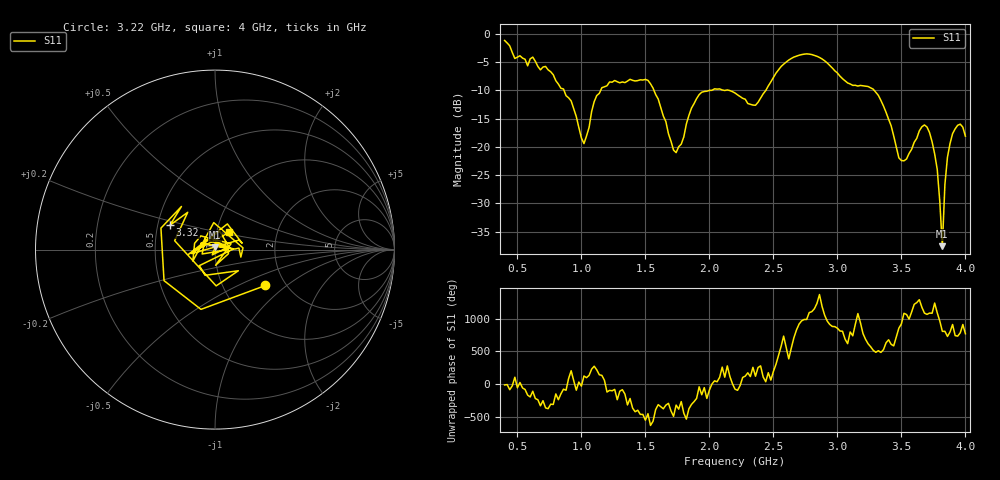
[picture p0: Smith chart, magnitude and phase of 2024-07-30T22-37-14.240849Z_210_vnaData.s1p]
!Created with skrf (http://scikit-rf.org).
# Hz S RI R 50.0
!freq ReS11 ImS11
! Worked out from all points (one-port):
!   181 points, 400 MHz to 4 GHz, reference 50 ohm
!   lowest |S11| = -37.6 dB at 3.82 GHz (marker M1), VSWR 1.03, Z = 50.1 + j1.32 ohm
!   |S11| at or under -10 dB: 1.567 GHz to 2.006 GHz (439.2 MHz wide, 24.6 % of centre); 2.154 GHz to 2.441 GHz (287 MHz wide, 12.5 % of centre); 3.288 GHz to end of sweep (the widest 3 of 5)
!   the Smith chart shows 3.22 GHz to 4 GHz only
!   S11 on the Smith chart (normalised r, x): 3.22 GHz: 1.58, -0.72; 3.32 GHz: 0.58, +0.17; 4 GHz: 1.15, +0.22
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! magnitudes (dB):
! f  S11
! 400 MHz  -1.2
! 480 MHz  -4.4
! 620 MHz  -4.1
! 860 MHz  -9.8
! 1.02 GHz  -19.4
! 1.12 GHz  -10.9
! 1.3 GHz  -8.7
! 1.52 GHz  -8.2
! 1.72 GHz  -20.6
! 1.76 GHz  -20.0
! 1.92 GHz  -10.8
! 2.2 GHz  -10.5
! 2.36 GHz  -12.6
! 2.66 GHz  -4.1
! 2.86 GHz  -4.2
! 3.1 GHz  -8.9
! 3.22 GHz  -9.2
! 3.32 GHz  -10.9
! 3.48 GHz  -21.9
! 3.56 GHz  -21.2
! 3.66 GHz  -16.4
! 3.72 GHz  -17.5
! 3.78 GHz  -24.0
! 3.82 GHz  -37.6
! 3.84 GHz  -26.6
! 3.88 GHz  -19.4
! 3.94 GHz  -16.2
! 4 GHz  -18.1
